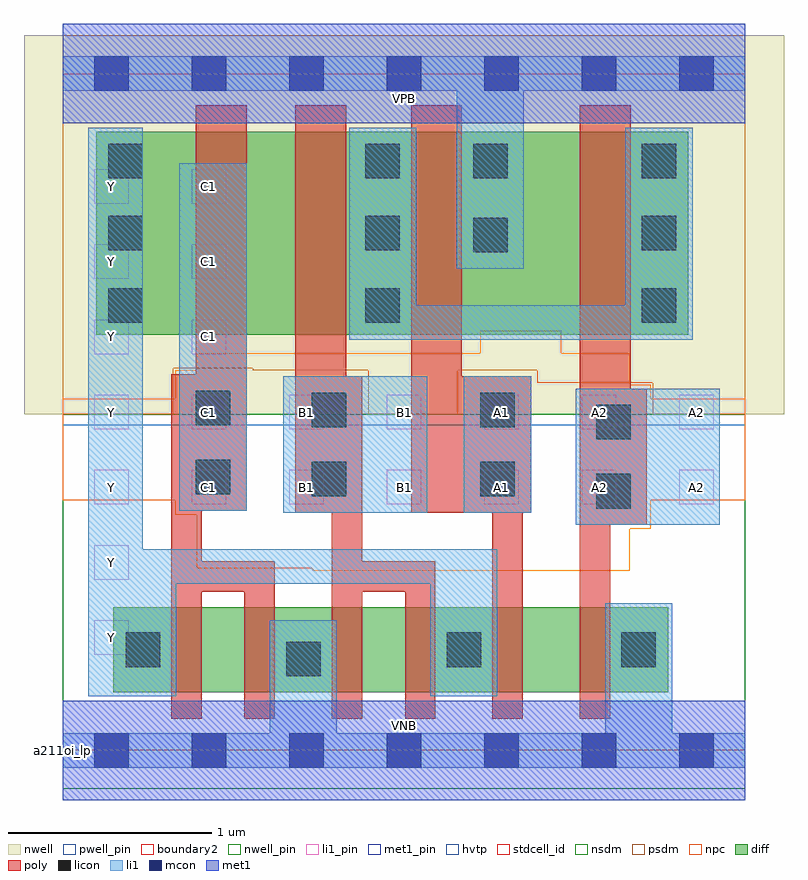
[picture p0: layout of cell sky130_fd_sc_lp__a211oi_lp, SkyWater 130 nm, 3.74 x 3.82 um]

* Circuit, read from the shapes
.subckt sky130_fd_sc_lp__a211oi_lp A1 A2 B1 C1 VGND VNB VPB VPWR Y
XM1 n1 C1 Y VNB sky130_fd_pr__nfet_01v8 w=0.42 l=0.15
XM2 VGND C1 n1 VNB sky130_fd_pr__nfet_01v8 w=0.42 l=0.15
XM3 n2 B1 VGND VNB sky130_fd_pr__nfet_01v8 w=0.42 l=0.15
XM4 Y B1 n2 VNB sky130_fd_pr__nfet_01v8 w=0.42 l=0.15
XM5 n3 A1 Y VNB sky130_fd_pr__nfet_01v8 w=0.42 l=0.15
XM6 VGND A2 n3 VNB sky130_fd_pr__nfet_01v8 w=0.42 l=0.15
XM7 n4 C1 Y VPB sky130_fd_pr__pfet_01v8_hvt w=1 l=0.25
XM8 n5 B1 n4 VPB sky130_fd_pr__pfet_01v8_hvt w=1 l=0.25
XM9 VPWR A1 n5 VPB sky130_fd_pr__pfet_01v8_hvt w=1 l=0.25
XM10 n5 A2 VPWR VPB sky130_fd_pr__pfet_01v8_hvt w=1 l=0.25
.ends

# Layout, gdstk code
import gdstk
lib = gdstk.Library(unit=1e-6, precision=1e-09)
def R(c, l, rs):  # rectangles x0, y0, x1, y1
    for r in rs: c.add(gdstk.rectangle(r[:2], r[2:], *l))
def A(c, l, x, y, w, h, nx, ny, dx, dy):  # array of equal rectangles
    R(c, l, [(x+i*dx, y+j*dy, x+i*dx+w, y+j*dy+h) for i in range(nx) for j in range(ny)])
def P(c, l, *ps):  # polygons
    for p in ps: c.add(gdstk.Polygon(p, *l))
nwell_pin = (64, 16)
nwell = (64, 20)
diff = (65, 20)
poly = (66, 20)
licon = (66, 44)
li1_pin = (67, 16)
li1 = (67, 20)
mcon = (67, 44)
met1_pin = (68, 16)
met1 = (68, 20)
hvtp = (78, 44)
stdcell_id = (81, 4)
nsdm = (93, 44)
psdm = (94, 20)
npc = (95, 20)
pwell_pin = (122, 16)
boundary2 = (236, 0)

sky130_fd_sc_lp__a211oi_ = lib.new_cell('sky130_fd_sc_lp__a211oi_lp')
R(sky130_fd_sc_lp__a211oi_, nwell_pin, [(0,3.085,3.36,3.33)])
R(sky130_fd_sc_lp__a211oi_, nwell, [(-0.19,1.655,3.55,3.52)])
R(sky130_fd_sc_lp__a211oi_, diff, [(0.25,0.285,2.98,0.705), (0.165,2.045,3.08,3.045)])
P(sky130_fd_sc_lp__a211oi_, poly, [(1.045,0.93),(0.685,0.93),(0.685,1.18),(0.905,1.18),(0.905,3.175),(0.655,3.175),(0.655,1.85),(0.535,1.85),(0.535,0.155),(0.685,0.155),(0.685,0.78),(0.895,0.78),(0.895,0.155),(1.045,0.155)],
  [(1.835,0.93),(1.475,0.93),(1.475,1.84),(1.395,1.84),(1.395,3.175),(1.145,3.175),(1.145,1.17),(1.325,1.17),(1.325,0.155),(1.475,0.155),(1.475,0.78),(1.685,0.78),(1.685,0.155),(1.835,0.155)],
  [(2.305,1.84),(1.965,1.84),(1.965,3.175),(1.715,3.175),(1.715,1.17),(2.115,1.17),(2.115,0.155),(2.265,0.155),(2.265,1.17),(2.305,1.17)],
  [(2.875,1.78),(2.795,1.78),(2.795,3.175),(2.545,3.175),(2.545,0.155),(2.695,0.155),(2.695,1.11),(2.875,1.11)])
A(sky130_fd_sc_lp__a211oi_, licon, 0.225, 2.105, 0.17, 0.17, 1, 3, 0, 0.355)
A(sky130_fd_sc_lp__a211oi_, licon, 1.49, 2.105, 0.17, 0.17, 1, 3, 0, 0.355)
A(sky130_fd_sc_lp__a211oi_, licon, 2.85, 2.105, 0.17, 0.17, 1, 3, 0, 0.355)
R(sky130_fd_sc_lp__a211oi_, licon, [(1.1,0.365,1.27,0.535), (0.31,0.41,0.48,0.58), (1.89,0.41,2.06,0.58), (2.75,0.41,2.92,0.58), (2.625,1.19,2.795,1.36), (1.225,1.25,1.395,1.42), (2.055,1.25,2.225,1.42), (0.655,1.26,0.825,1.43), (2.625,1.53,2.795,1.7), (1.225,1.59,1.395,1.76), (2.055,1.59,2.225,1.76), (0.655,1.6,0.825,1.77), (2.02,2.45,2.19,2.62), (2.02,2.815,2.19,2.985)])
A(sky130_fd_sc_lp__a211oi_, li1_pin, 0.155, 1.21, 0.17, 0.17, 7, 2, 0.48, 0.37)
A(sky130_fd_sc_lp__a211oi_, li1_pin, 0.155, 1.95, 0.17, 0.17, 1, 3, 0, 0.37)
A(sky130_fd_sc_lp__a211oi_, li1_pin, 0.635, 1.95, 0.17, 0.17, 1, 3, 0, 0.37)
R(sky130_fd_sc_lp__a211oi_, li1_pin, [(0.155,0.47,0.325,0.64), (0.155,0.84,0.325,1.01)])
R(sky130_fd_sc_lp__a211oi_, li1, [(2.525,1.11,3.235,1.78), (1.085,1.17,1.795,1.84), (1.975,1.17,2.305,1.84), (0.575,1.18,0.905,2.89)])
P(sky130_fd_sc_lp__a211oi_, li1, [(1.94,2.37),(1.94,3.245),(0,3.245),(0,3.415),(3.36,3.415),(3.36,3.245),(2.27,3.245),(2.27,2.37)],
  [(2.67,0.085),(2.67,0.725),(3,0.725),(3,0.085),(3.36,0.085),(3.36,-0.085),(0,-0.085),(0,0.085),(1.02,0.085),(1.02,0.64),(1.35,0.64),(1.35,0.085)],
  [(0.395,0.99),(2.14,0.99),(2.14,0.265),(1.81,0.265),(1.81,0.82),(0.56,0.82),(0.56,0.265),(0.125,0.265),(0.125,3.065),(0.395,3.065)],
  [(2.77,2.19),(2.77,3.065),(3.1,3.065),(3.1,2.02),(1.41,2.02),(1.41,3.065),(1.74,3.065),(1.74,2.19)])
A(sky130_fd_sc_lp__a211oi_, mcon, 0.155, -0.085, 0.17, 0.17, 7, 2, 0.48, 3.33)
R(sky130_fd_sc_lp__a211oi_, met1_pin, [(0,0,3.36,0.245), (0,3.085,3.36,3.33)])
R(sky130_fd_sc_lp__a211oi_, met1, [(0,-0.245,3.36,0.245), (0,3.085,3.36,3.575)])
R(sky130_fd_sc_lp__a211oi_, hvtp, [(0,1.6,3.36,3.33)])
R(sky130_fd_sc_lp__a211oi_, stdcell_id, [(0,0,3.36,3.33)])
R(sky130_fd_sc_lp__a211oi_, nsdm, [(0,-0.19,3.36,1.655)])
P(sky130_fd_sc_lp__a211oi_, psdm, [(3.36,3.52),(0,3.52),(0,1.655),(0.545,1.655),(0.545,1.88),(0.935,1.88),(0.935,1.87),(1.505,1.87),(1.505,1.655),(1.945,1.655),(1.945,1.87),(2.335,1.87),(2.335,1.81),(2.905,1.81),(2.905,1.655),(3.36,1.655)])
P(sky130_fd_sc_lp__a211oi_, npc, [(3.36,1.73),(2.895,1.73),(2.895,1.8),(2.79,1.8),(2.79,1.955),(2.455,1.955),(2.455,2.065),(2.055,2.065),(2.055,1.955),(0.66,1.955),(0.66,1.87),(0.555,1.87),(0.555,1.73),(0,1.73),(0,1.23),(0.555,1.23),(0.555,1.16),(0.66,1.16),(0.66,0.895),(1.23,0.895),(1.23,0.885),(2.79,0.885),(2.79,1.09),(2.895,1.09),(2.895,1.23),(3.36,1.23)])
R(sky130_fd_sc_lp__a211oi_, pwell_pin, [(0,0,3.36,0.245)])
R(sky130_fd_sc_lp__a211oi_, boundary2, [(0,0,3.36,3.33)])
sky130_fd_sc_lp__a211oi_.add(gdstk.Label('VNB', (1.68,0.123), layer=64, texttype=59))
sky130_fd_sc_lp__a211oi_.add(gdstk.Label('VPB', (1.68,3.208), layer=64, texttype=5))
sky130_fd_sc_lp__a211oi_.add(gdstk.Label('a211oi_lp', (0,0), layer=83, texttype=44))
sky130_fd_sc_lp__a211oi_.add(gdstk.Label('VPWR', (1.68,3.208), layer=68, texttype=5))
sky130_fd_sc_lp__a211oi_.add(gdstk.Label('VGND', (1.68,0.123), layer=68, texttype=5))
sky130_fd_sc_lp__a211oi_.add(gdstk.Label('C1', (0.72,1.295), layer=67, texttype=5))
sky130_fd_sc_lp__a211oi_.add(gdstk.Label('C1', (0.72,1.665), layer=67, texttype=5))
sky130_fd_sc_lp__a211oi_.add(gdstk.Label('C1', (0.72,2.035), layer=67, texttype=5))
sky130_fd_sc_lp__a211oi_.add(gdstk.Label('C1', (0.72,2.405), layer=67, texttype=5))
sky130_fd_sc_lp__a211oi_.add(gdstk.Label('C1', (0.72,2.775), layer=67, texttype=5))
sky130_fd_sc_lp__a211oi_.add(gdstk.Label('B1', (1.2,1.295), layer=67, texttype=5))
sky130_fd_sc_lp__a211oi_.add(gdstk.Label('B1', (1.2,1.665), layer=67, texttype=5))
sky130_fd_sc_lp__a211oi_.add(gdstk.Label('B1', (1.68,1.295), layer=67, texttype=5))
sky130_fd_sc_lp__a211oi_.add(gdstk.Label('B1', (1.68,1.665), layer=67, texttype=5))
sky130_fd_sc_lp__a211oi_.add(gdstk.Label('A1', (2.16,1.295), layer=67, texttype=5))
sky130_fd_sc_lp__a211oi_.add(gdstk.Label('A1', (2.16,1.665), layer=67, texttype=5))
sky130_fd_sc_lp__a211oi_.add(gdstk.Label('Y', (0.24,0.555), layer=67, texttype=5))
sky130_fd_sc_lp__a211oi_.add(gdstk.Label('Y', (0.24,0.925), layer=67, texttype=5))
sky130_fd_sc_lp__a211oi_.add(gdstk.Label('Y', (0.24,1.295), layer=67, texttype=5))
sky130_fd_sc_lp__a211oi_.add(gdstk.Label('Y', (0.24,1.665), layer=67, texttype=5))
sky130_fd_sc_lp__a211oi_.add(gdstk.Label('Y', (0.24,2.035), layer=67, texttype=5))
sky130_fd_sc_lp__a211oi_.add(gdstk.Label('Y', (0.24,2.405), layer=67, texttype=5))
sky130_fd_sc_lp__a211oi_.add(gdstk.Label('Y', (0.24,2.775), layer=67, texttype=5))
sky130_fd_sc_lp__a211oi_.add(gdstk.Label('A2', (2.64,1.295), layer=67, texttype=5))
sky130_fd_sc_lp__a211oi_.add(gdstk.Label('A2', (2.64,1.665), layer=67, texttype=5))
sky130_fd_sc_lp__a211oi_.add(gdstk.Label('A2', (3.12,1.295), layer=67, texttype=5))
sky130_fd_sc_lp__a211oi_.add(gdstk.Label('A2', (3.12,1.665), layer=67, texttype=5))

lib.write_gds('sky130_fd_sc_lp__a211oi_lp.gds')
